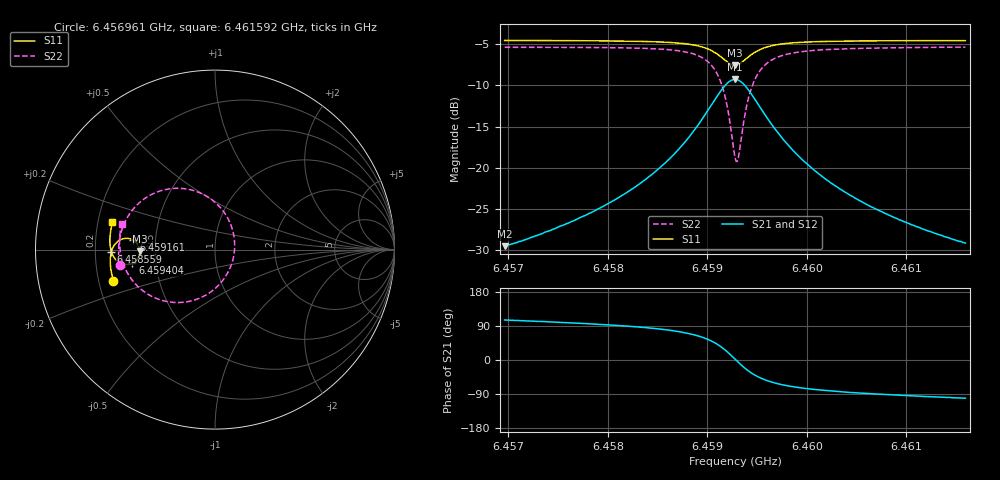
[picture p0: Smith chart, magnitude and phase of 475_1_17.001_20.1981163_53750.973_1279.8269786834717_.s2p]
#  HZ  S  RI  R  50.00
! Rohde & Schwarz Vector Network Analyzer
! Rohde-Schwarz,ZNB20-2Port,1311601062101988,3.16
! Created: UTC 3/20/2024, 11:13:20 PM
! freq[Hz]  re:S11  im:S11  re:S21  im:S21  re:S12  im:S12  re:S22  im:S22
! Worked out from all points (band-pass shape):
!   401 points, 6.456961 GHz to 6.461592 GHz, reference 50 ohm
!   highest |S21| = -9.27 dB at 6.459277 GHz (marker M1); lowest = -29.5 dB at 6.456961 GHz (marker M2)
!   |S21| within 3 dB of the highest: 6.459046 GHz to 6.459508 GHz (462.2 kHz wide, 0.00715 % of centre)
!   lowest |S11| = -7.6 dB at 6.459277 GHz (marker M3), VSWR 2.44, Z = 20.5 - j0.5 ohm
!   |S11| at or under -10 dB: nowhere
!   |S22| runs from -19.2 to -5.4 dB; largest |S21 - S12| = 0.013
!   S11 on the Smith chart (normalised r, x): 6.456961 GHz: 0.26, -0.14; 6.458559 GHz: 0.27, -0.01; 6.459161 GHz: 0.37, +0.05; 6.459404 GHz: 0.37, -0.07; 6.461592 GHz: 0.26, +0.12
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6.4569614e9  -0.5663 -0.1735  -0.00903 0.0322  -0.00719 0.0321  -0.5315 -0.0863
6.4577371e9  -0.5805 -0.1056  -0.00577 0.0501  -0.00319 0.0494  -0.5371 0.004
6.458177e9  -0.5836 -0.0617  0.000417 0.07  0.00363 0.0687  -0.5289 0.0736
6.4585127e9  -0.5799 -0.0216  0.0138 0.0981  0.0179 0.0954  -0.5041 0.149
6.4585591e9  -0.5784 -0.0152  0.0174 0.1034  0.0213 0.1005  -0.4979 0.1621
6.4587674e9  -0.5663 0.0164  0.0433 0.1351  0.0474 0.1302  -0.4493 0.2335
6.4589179e9  -0.5451 0.0429  0.0857 0.1651  0.089 0.1587  -0.3711 0.2976
6.4590684e9  -0.4992 0.0625  0.1771 0.1844  0.178 0.1769  -0.204 0.3416
6.4591611e9  -0.4549 0.0524  0.2666 0.1534  0.2668 0.1475  -0.0381 0.2922
6.4592074e9  -0.4337 0.0337  0.3101 0.1108  0.3113 0.1055  0.0446 0.2163
6.4592768e9  -0.419 -0.0101  0.3435 0.0144  0.3469 0.0074  0.1095 0.0373
6.4592884e9  -0.4195 -0.0181  0.3431 -0.00323  0.3469 -0.0109  0.1092 0.0038
6.4593116e9  -0.4229 -0.0337  0.3377 -0.0379  0.3415 -0.0469  0.0983 -0.062
6.4593579e9  -0.4386 -0.0595  0.3093 -0.0976  0.3114 -0.1094  0.041 -0.1745
6.4594042e9  -0.4604 -0.0758  0.2674 -0.1385  0.2666 -0.1516  -0.0436 -0.2492
6.4594968e9  -0.5036 -0.0825  0.183 -0.1694  0.1769 -0.181  -0.2116 -0.2949
6.4596473e9  -0.5472 -0.0619  0.0955 -0.1555  0.0871 -0.1617  -0.3783 -0.2458
6.4598094e9  -0.5685 -0.0342  0.051 -0.1278  0.0434 -0.1306  -0.4584 -0.1738
6.4600525e9  -0.5812 0.00138  0.0221 -0.0965  0.0164 -0.0971  -0.5062 -0.0918
6.4603998e9  -0.5855 0.0424  0.00611 -0.0701  0.00215 -0.0694  -0.5274 -0.0129
6.4608281e9  -0.5836 0.0854  -0.00148 -0.0515  -0.00426 -0.0506  -0.5316 0.0553
6.4615922e9  -0.5711 0.1529  -0.00658 -0.0343  -0.00823 -0.0334  -0.5199 0.1449
